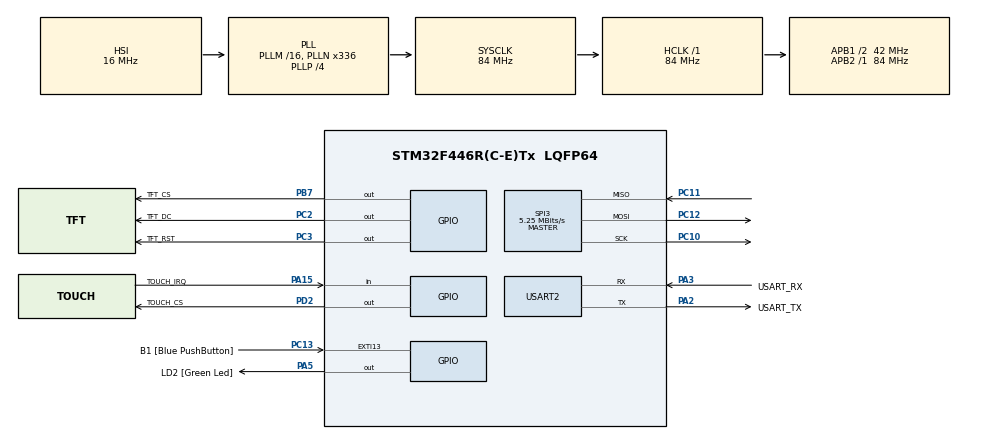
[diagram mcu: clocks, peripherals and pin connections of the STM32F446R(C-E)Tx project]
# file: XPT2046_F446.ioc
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Dma.Request0=SPI3_TX
Dma.SPI3_TX.0.Direction=DMA_MEMORY_TO_PERIPH
Dma.SPI3_TX.0.FIFOMode=DMA_FIFOMODE_DISABLE
Dma.SPI3_TX.0.Instance=DMA1_Stream5
Dma.SPI3_TX.0.MemDataAlignment=DMA_MDATAALIGN_BYTE
Dma.SPI3_TX.0.MemInc=DMA_MINC_ENABLE
Dma.SPI3_TX.0.Mode=DMA_NORMAL
Dma.SPI3_TX.0.PeriphDataAlignment=DMA_PDATAALIGN_BYTE
Dma.SPI3_TX.0.PeriphInc=DMA_PINC_DISABLE
Dma.SPI3_TX.0.Priority=DMA_PRIORITY_LOW
Mcu.Family=STM32F4
Mcu.Name=STM32F446R(C-E)Tx
Mcu.Package=LQFP64
NVIC.DMA1_Stream5_IRQn=true\:0\:0\:false\:false\:true\:false\:true
NVIC.PriorityGroup=NVIC_PRIORITYGROUP_0
NVIC.TIM2_IRQn=true\:0\:0\:false\:false\:true\:true\:true
PA13.GPIO_Label=TMS
PA13.Mode=Serial_Wire
PA13.Signal=SYS_JTMS-SWDIO
PA14.GPIO_Label=TCK
PA14.Mode=Serial_Wire
PA14.Signal=SYS_JTCK-SWCLK
PA15.GPIO_Label=TOUCH_IRQ
PA15.Signal=GPIO_Input
PA2.GPIO_Label=USART_TX
PA2.Mode=Asynchronous
PA2.Signal=USART2_TX
PA3.GPIO_Label=USART_RX
PA3.Mode=Asynchronous
PA3.Signal=USART2_RX
PA5.GPIO_Label=LD2 [Green Led]
PA5.Signal=GPIO_Output
PB3.GPIO_Label=SWO
PB3.Signal=SYS_JTDO-SWO
PB7.GPIO_Label=TFT_CS
PB7.Signal=GPIO_Output
PC10.Mode=Full_Duplex_Master
PC10.Signal=SPI3_SCK
PC11.Mode=Full_Duplex_Master
PC11.Signal=SPI3_MISO
PC12.Mode=Full_Duplex_Master
PC12.Signal=SPI3_MOSI
PC13.GPIO_Label=B1 [Blue PushButton]
PC13.GPIO_ModeDefaultEXTI=GPIO_MODE_IT_FALLING
PC13.Signal=GPXTI13
PC14-OSC32_IN.Mode=LSE-External-Oscillator
PC14-OSC32_IN.Signal=RCC_OSC32_IN
PC15-OSC32_OUT.Mode=LSE-External-Oscillator
PC15-OSC32_OUT.Signal=RCC_OSC32_OUT
PC2.GPIO_Label=TFT_DC
PC2.Signal=GPIO_Output
PC3.GPIO_Label=TFT_RST
PC3.Signal=GPIO_Output
PD2.GPIO_Label=TOUCH_CS
PD2.Signal=GPIO_Output
PH0-OSC_IN.Mode=HSE-External-Oscillator
PH0-OSC_IN.Signal=RCC_OSC_IN
PH1-OSC_OUT.Mode=HSE-External-Oscillator
PH1-OSC_OUT.Signal=RCC_OSC_OUT
ProjectManager.HeapSize=0x200
ProjectManager.StackSize=0x400
ProjectManager.TargetToolchain=SW4STM32
RCC.48MHZClocksFreq_Value=84000000
RCC.AHBFreq_Value=84000000
RCC.APB1CLKDivider=RCC_HCLK_DIV2
RCC.APB1Freq_Value=42000000
RCC.APB1TimFreq_Value=84000000
RCC.APB2Freq_Value=84000000
RCC.APB2TimFreq_Value=84000000
RCC.CortexFreq_Value=84000000
RCC.FLatency-AdvancedSettings=FLASH_LATENCY_2
RCC.HCLKFreq_Value=84000000
RCC.HSE_VALUE=8000000
RCC.HSI_VALUE=16000000
RCC.PLLN=336
RCC.PLLP=RCC_PLLP_DIV4
RCC.SYSCLKFreq_VALUE=84000000
RCC.SYSCLKSource=RCC_SYSCLKSOURCE_PLLCLK
RCC.USBFreq_Value=168000000
RCC.VCOOutputFreq_Value=336000000
SPI3.BaudRatePrescaler=SPI_BAUDRATEPRESCALER_8
SPI3.CalculateBaudRate=5.25 MBits/s
SPI3.Direction=SPI_DIRECTION_2LINES
SPI3.Mode=SPI_MODE_MASTER
SPI3.VirtualType=VM_MASTER
TIM2.Period=10
TIM2.Prescaler=8400
USART2.VirtualMode=VM_ASYNC
VP_TIM2_VS_ClockSourceINT.Mode=Internal
board=NUCLEO-F446RE

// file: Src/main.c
/* USER CODE BEGIN Header */
/**
  ******************************************************************************
  * @file           : main.c
  * @brief          : Main program body
  ******************************************************************************
  * @attention
  *
  * <h2><center>&copy; Copyright (c) 2020 STMicroelectronics.
  * All rights reserved.</center></h2>
  *
  * This software component is licensed by ST under BSD 3-Clause license,
  * the "License"; You may not use this file except in compliance with the
  * License. You may obtain a copy of the License at:
  *                        opensource.org/licenses/BSD-3-Clause
  *
  ******************************************************************************
  */
/* USER CODE END Header */

#include "main.h"

/* USER CODE BEGIN Includes */
#include "string.h"
#include "stdio.h"
#include "stdarg.h"
#include "stdlib.h"
#include "ili9486.h"
#include "xpt2046.h"

#include "lvgl/lvgl.h"

#include "lv_examples/lv_apps/demo/demo.h"
/* USER CODE END Includes */

SPI_HandleTypeDef hspi3;
DMA_HandleTypeDef hdma_spi3_tx;

TIM_HandleTypeDef htim2;

UART_HandleTypeDef huart2;

/* USER CODE BEGIN PV */
void UART_Printf(const char* fmt, ...) {
    char buff[256];
    va_list args;
    va_start(args, fmt);
    vsnprintf(buff, sizeof(buff), fmt, args);
    HAL_UART_Transmit(&huart2, (uint8_t*)buff, strlen(buff), HAL_MAX_DELAY);
    va_end(args);
}
/* USER CODE END PV */

void SystemClock_Config(void);
static void MX_GPIO_Init(void);
static void MX_DMA_Init(void);
static void MX_SPI3_Init(void);
static void MX_USART2_UART_Init(void);
static void MX_TIM2_Init(void);

/* USER CODE BEGIN 0 */
void HAL_TIM_PeriodElapsedCallback(TIM_HandleTypeDef *htim)
{
    if(htim->Instance == TIM2)
    {
        lv_tick_inc(1);
    }
}
/* USER CODE END 0 */

int main(void)
{

  /* MCU Configuration--------------------------------------------------------*/

  /* Reset of all peripherals, Initializes the Flash interface and the Systick. */
  HAL_Init();

  /* Configure the system clock */
  SystemClock_Config();

  /* Initialize all configured peripherals */
  MX_GPIO_Init();
  MX_DMA_Init();
  MX_SPI3_Init();
  MX_USART2_UART_Init();
  MX_TIM2_Init();
  /* USER CODE BEGIN 2 */
  UART_Printf("Ready\r\n");

  lv_init();

  tft_init();
  touch_init();

  demo_create();

  /*begin();
  fillScreen(ILI9486_BLACK);*/

  HAL_TIM_Base_Start_IT(&htim2); // Littlevcl tick 8400 10 -> 1ms

  /* USER CODE END 2 */

  /* Infinite loop */
  while (1)
  {

    /* USER CODE BEGIN 3 */
    lv_task_handler();
    HAL_Delay(10);
  }
  /* USER CODE END 3 */
}

void SystemClock_Config(void)
{
  RCC_OscInitTypeDef RCC_OscInitStruct = {0};
  RCC_ClkInitTypeDef RCC_ClkInitStruct = {0};

  /** Configure the main internal regulator output voltage
  */
  __HAL_RCC_PWR_CLK_ENABLE();
  __HAL_PWR_VOLTAGESCALING_CONFIG(PWR_REGULATOR_VOLTAGE_SCALE3);
  /** Initializes the CPU, AHB and APB busses clocks
  */
  RCC_OscInitStruct.OscillatorType = RCC_OSCILLATORTYPE_HSI;
  RCC_OscInitStruct.HSIState = RCC_HSI_ON;
  RCC_OscInitStruct.HSICalibrationValue = RCC_HSICALIBRATION_DEFAULT;
  RCC_OscInitStruct.PLL.PLLState = RCC_PLL_ON;
  RCC_OscInitStruct.PLL.PLLSource = RCC_PLLSOURCE_HSI;
  RCC_OscInitStruct.PLL.PLLM = 16;
  RCC_OscInitStruct.PLL.PLLN = 336;
  RCC_OscInitStruct.PLL.PLLP = RCC_PLLP_DIV4;
  RCC_OscInitStruct.PLL.PLLQ = 2;
  RCC_OscInitStruct.PLL.PLLR = 2;
  if (HAL_RCC_OscConfig(&RCC_OscInitStruct) != HAL_OK)
  {
    Error_Handler();
  }
  /** Initializes the CPU, AHB and APB busses clocks
  */
  RCC_ClkInitStruct.ClockType = RCC_CLOCKTYPE_HCLK|RCC_CLOCKTYPE_SYSCLK
                              |RCC_CLOCKTYPE_PCLK1|RCC_CLOCKTYPE_PCLK2;
  RCC_ClkInitStruct.SYSCLKSource = RCC_SYSCLKSOURCE_PLLCLK;
  RCC_ClkInitStruct.AHBCLKDivider = RCC_SYSCLK_DIV1;
  RCC_ClkInitStruct.APB1CLKDivider = RCC_HCLK_DIV2;
  RCC_ClkInitStruct.APB2CLKDivider = RCC_HCLK_DIV1;

  if (HAL_RCC_ClockConfig(&RCC_ClkInitStruct, FLASH_LATENCY_2) != HAL_OK)
  {
    Error_Handler();
  }
}

static void MX_SPI3_Init(void)
{

  /* SPI3 parameter configuration*/
  hspi3.Instance = SPI3;
  hspi3.Init.Mode = SPI_MODE_MASTER;
  hspi3.Init.Direction = SPI_DIRECTION_2LINES;
  hspi3.Init.DataSize = SPI_DATASIZE_8BIT;
  hspi3.Init.CLKPolarity = SPI_POLARITY_LOW;
  hspi3.Init.CLKPhase = SPI_PHASE_1EDGE;
  hspi3.Init.NSS = SPI_NSS_SOFT;
  hspi3.Init.BaudRatePrescaler = SPI_BAUDRATEPRESCALER_2;
  hspi3.Init.FirstBit = SPI_FIRSTBIT_MSB;
  hspi3.Init.TIMode = SPI_TIMODE_DISABLE;
  hspi3.Init.CRCCalculation = SPI_CRCCALCULATION_DISABLE;
  hspi3.Init.CRCPolynomial = 10;
  if (HAL_SPI_Init(&hspi3) != HAL_OK)
  {
    Error_Handler();
  }

}

static void MX_TIM2_Init(void)
{

  TIM_ClockConfigTypeDef sClockSourceConfig = {0};
  TIM_MasterConfigTypeDef sMasterConfig = {0};

  htim2.Instance = TIM2;
  htim2.Init.Prescaler = 8400;
  htim2.Init.CounterMode = TIM_COUNTERMODE_UP;
  htim2.Init.Period = 10;
  htim2.Init.ClockDivision = TIM_CLOCKDIVISION_DIV1;
  htim2.Init.AutoReloadPreload = TIM_AUTORELOAD_PRELOAD_DISABLE;
  if (HAL_TIM_Base_Init(&htim2) != HAL_OK)
  {
    Error_Handler();
  }
  sClockSourceConfig.ClockSource = TIM_CLOCKSOURCE_INTERNAL;
  if (HAL_TIM_ConfigClockSource(&htim2, &sClockSourceConfig) != HAL_OK)
  {
    Error_Handler();
  }
  sMasterConfig.MasterOutputTrigger = TIM_TRGO_RESET;
  sMasterConfig.MasterSlaveMode = TIM_MASTERSLAVEMODE_DISABLE;
  if (HAL_TIMEx_MasterConfigSynchronization(&htim2, &sMasterConfig) != HAL_OK)
  {
    Error_Handler();
  }

}

static void MX_USART2_UART_Init(void)
{

  huart2.Instance = USART2;
  huart2.Init.BaudRate = 115200;
  huart2.Init.WordLength = UART_WORDLENGTH_8B;
  huart2.Init.StopBits = UART_STOPBITS_1;
  huart2.Init.Parity = UART_PARITY_NONE;
  huart2.Init.Mode = UART_MODE_TX_RX;
  huart2.Init.HwFlowCtl = UART_HWCONTROL_NONE;
  huart2.Init.OverSampling = UART_OVERSAMPLING_16;
  if (HAL_UART_Init(&huart2) != HAL_OK)
  {
    Error_Handler();
  }

}

static void MX_DMA_Init(void)
{

  /* DMA controller clock enable */
  __HAL_RCC_DMA1_CLK_ENABLE();

  /* DMA interrupt init */
  /* DMA1_Stream5_IRQn interrupt configuration */
  HAL_NVIC_SetPriority(DMA1_Stream5_IRQn, 0, 0);
  HAL_NVIC_EnableIRQ(DMA1_Stream5_IRQn);

}

static void MX_GPIO_Init(void)
{
  GPIO_InitTypeDef GPIO_InitStruct = {0};

  /* GPIO Ports Clock Enable */
  __HAL_RCC_GPIOC_CLK_ENABLE();
  __HAL_RCC_GPIOH_CLK_ENABLE();
  __HAL_RCC_GPIOA_CLK_ENABLE();
  __HAL_RCC_GPIOD_CLK_ENABLE();
  __HAL_RCC_GPIOB_CLK_ENABLE();

  /*Configure GPIO pin Output Level */
  HAL_GPIO_WritePin(GPIOC, TFT_DC_Pin|TFT_RST_Pin, GPIO_PIN_RESET);

  /*Configure GPIO pin Output Level */
  HAL_GPIO_WritePin(LD2_GPIO_Port, LD2_Pin, GPIO_PIN_RESET);

  /*Configure GPIO pin Output Level */
  HAL_GPIO_WritePin(TOUCH_CS_GPIO_Port, TOUCH_CS_Pin, GPIO_PIN_RESET);

  /*Configure GPIO pin Output Level */
  HAL_GPIO_WritePin(TFT_CS_GPIO_Port, TFT_CS_Pin, GPIO_PIN_RESET);

  /*Configure GPIO pin : B1_Pin */
  GPIO_InitStruct.Pin = B1_Pin;
  GPIO_InitStruct.Mode = GPIO_MODE_IT_FALLING;
  GPIO_InitStruct.Pull = GPIO_NOPULL;
  HAL_GPIO_Init(B1_GPIO_Port, &GPIO_InitStruct);

  /*Configure GPIO pins : TFT_DC_Pin TFT_RST_Pin */
  GPIO_InitStruct.Pin = TFT_DC_Pin|TFT_RST_Pin;
  GPIO_InitStruct.Mode = GPIO_MODE_OUTPUT_PP;
  GPIO_InitStruct.Pull = GPIO_NOPULL;
  GPIO_InitStruct.Speed = GPIO_SPEED_FREQ_LOW;
  HAL_GPIO_Init(GPIOC, &GPIO_InitStruct);

  /*Configure GPIO pin : LD2_Pin */
  GPIO_InitStruct.Pin = LD2_Pin;
  GPIO_InitStruct.Mode = GPIO_MODE_OUTPUT_PP;
  GPIO_InitStruct.Pull = GPIO_NOPULL;
  GPIO_InitStruct.Speed = GPIO_SPEED_FREQ_LOW;
  HAL_GPIO_Init(LD2_GPIO_Port, &GPIO_InitStruct);

  /*Configure GPIO pin : TOUCH_IRQ_Pin */
  GPIO_InitStruct.Pin = TOUCH_IRQ_Pin;
  GPIO_InitStruct.Mode = GPIO_MODE_INPUT;
  GPIO_InitStruct.Pull = GPIO_NOPULL;
  HAL_GPIO_Init(TOUCH_IRQ_GPIO_Port, &GPIO_InitStruct);

  /*Configure GPIO pin : TOUCH_CS_Pin */
  GPIO_InitStruct.Pin = TOUCH_CS_Pin;
  GPIO_InitStruct.Mode = GPIO_MODE_OUTPUT_PP;
  GPIO_InitStruct.Pull = GPIO_NOPULL;
  GPIO_InitStruct.Speed = GPIO_SPEED_FREQ_LOW;
  HAL_GPIO_Init(TOUCH_CS_GPIO_Port, &GPIO_InitStruct);

  /*Configure GPIO pin : TFT_CS_Pin */
  GPIO_InitStruct.Pin = TFT_CS_Pin;
  GPIO_InitStruct.Mode = GPIO_MODE_OUTPUT_PP;
  GPIO_InitStruct.Pull = GPIO_NOPULL;
  GPIO_InitStruct.Speed = GPIO_SPEED_FREQ_LOW;
  HAL_GPIO_Init(TFT_CS_GPIO_Port, &GPIO_InitStruct);

}

void Error_Handler(void)
{
}

/************************ (C) COPYRIGHT STMicroelectronics *****END OF FILE****/
